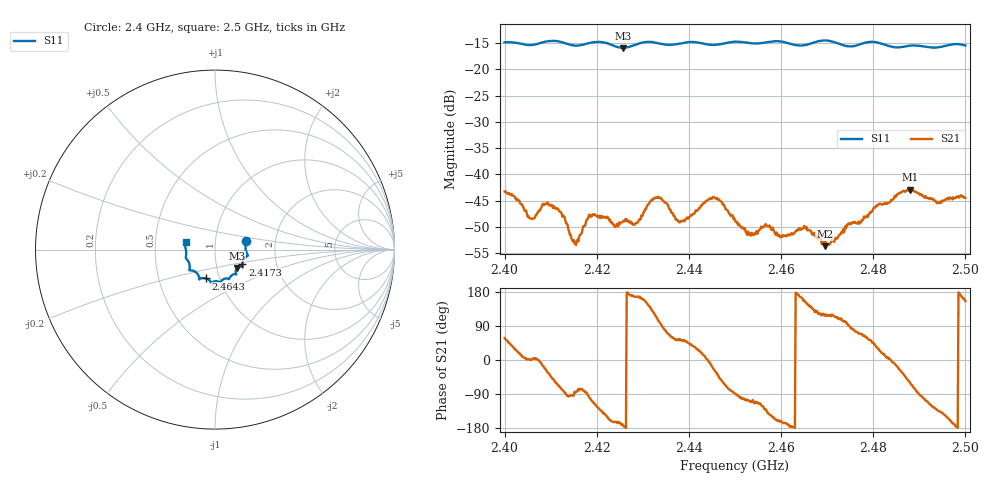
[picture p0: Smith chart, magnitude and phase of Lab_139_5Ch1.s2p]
# Hz S RI R 50
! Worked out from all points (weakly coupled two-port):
!   601 points, 2.4 GHz to 2.5 GHz, reference 50 ohm
!   highest |S21| = -42.90 dB at 2.488 GHz (marker M1); lowest = -53.7 dB at 2.4695 GHz (marker M2)
!   lowest |S11| = -15.9 dB at 2.4257 GHz (marker M3), VSWR 1.38, Z = 62.4 - j13.1 ohm
!   |S11| at or under -10 dB: start of sweep to end of sweep
!   S12 and S22 are empty: the file has one direction only
!   S11 on the Smith chart (normalised r, x): 2.4 GHz: 1.41, +0.14; 2.4173 GHz: 1.34, -0.23; 2.4643 GHz: 0.86, -0.28; 2.5 GHz: 0.72, +0.06
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2.4e9  0.1736 0.0494  0.00366 0.00581  0 0  0 0
2.405833e9  0.1702 0.00322  0.00376 3.38e-05  0 0  0 0
2.408833e9  0.1812 -0.0276  0.00472 -0.00211  0 0  0 0
2.411167e9  0.1827 -0.0349  0.0024 -0.00406  0 0  0 0
2.415e9  0.159 -0.0558  -0.000146 -0.00237  0 0  0 0
2.416667e9  0.1529 -0.075  0.000628 -0.00264  0 0  0 0
2.417333e9  0.1522 -0.0824  0.000485 -0.00319  0 0  0 0
2.419333e9  0.1536 -0.0958  -0.00157 -0.00381  0 0  0 0
2.425667e9  0.1226 -0.1026  -0.00352 -0.000471  0 0  0 0
2.4285e9  0.1153 -0.1281  -0.00337 0.000774  0 0  0 0
2.433333e9  0.1126 -0.1365  -0.00145 0.00595  0 0  0 0
2.438e9  0.0829 -0.1546  0.00215 0.00273  0 0  0 0
2.445333e9  0.0525 -0.1624  0.00559 -0.00245  0 0  0 0
2.45e9  0.0295 -0.1809  9.81e-05 -0.00358  0 0  0 0
2.4535e9  0.0137 -0.1766  -0.000941 -0.00244  0 0  0 0
2.464333e9  -0.0502 -0.1606  -0.00288 0.000743  0 0  0 0
2.466667e9  -0.0764 -0.1599  -0.00196 0.00187  0 0  0 0
2.4695e9  -0.0879 -0.1665  -0.000942 0.00184  0 0  0 0
2.483333e9  -0.1409 -0.0895  0.00534 0.000301  0 0  0 0
2.488e9  -0.1602 -0.051  0.00366 -0.00616  0 0  0 0
2.494e9  -0.1616 -0.00146  -0.00375 -0.00393  0 0  0 0
2.5e9  -0.1634 0.0418  -0.00541 0.00248  0 0  0 0
